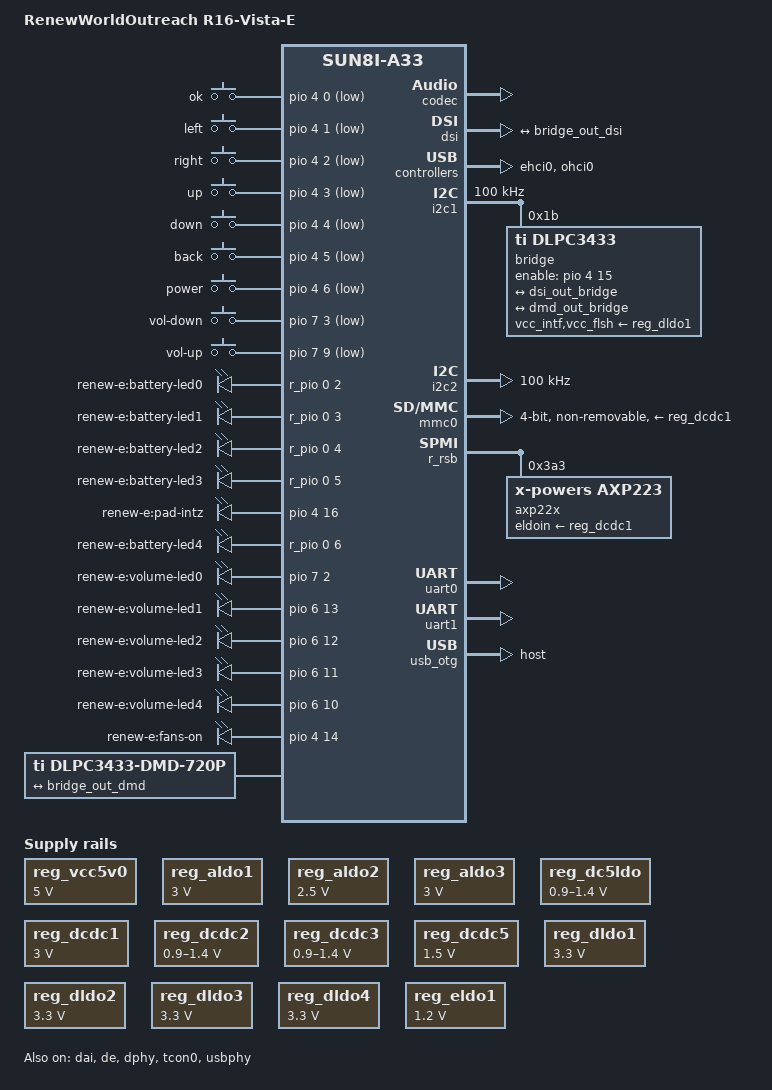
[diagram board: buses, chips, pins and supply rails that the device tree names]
// SPDX-License-Identifier: (GPL-2.0+ OR MIT)
/*
 * Copyright (C) 2022 RenewWorldOutreach
 * Copyright (C) 2022 Amarula Solutions(India)
 */

/dts-v1/;
#include "sun8i-a33.dtsi"

#include <dt-bindings/gpio/gpio.h>
#include <dt-bindings/input/input.h>
#include <dt-bindings/leds/common.h>

/ {
	model = "RenewWorldOutreach R16-Vista-E";
	compatible = "renewworldoutreach,r16-vista-e", "allwinner,sun8i-a33";

	aliases {
		i2c1 = &i2c1;
		i2c2 = &i2c2;
		serial0 = &uart0;
		serial1 = &uart1;
	};

	chosen {
		stdout-path = "serial0:115200n8";
	};

	gpio-keys-polled {
		compatible = "gpio-keys-polled";
		poll-interval = <100>;

		ok {
			label = "ok";
			linux,code = <KEY_OK>;
			gpios = <&pio 4 0 GPIO_ACTIVE_LOW>;
		};

		left {
			label = "left";
			linux,code = <KEY_LEFT>;
			gpios = <&pio 4 1 GPIO_ACTIVE_LOW>;
		};

		right {
			label = "right";
			linux,code = <KEY_RIGHT>;
			gpios = <&pio 4 2 GPIO_ACTIVE_LOW>;
		};

		up {
			label = "up";
			linux,code = <KEY_UP>;
			gpios = <&pio 4 3 GPIO_ACTIVE_LOW>;
		};

		down {
			label = "down";
			linux,code = <KEY_DOWN>;
			gpios = <&pio 4 4 GPIO_ACTIVE_LOW>;
		};

		back {
			label = "back";
			linux,code = <KEY_BACK>;
			gpios = <&pio 4 5 GPIO_ACTIVE_LOW>;
		};

		power {
			label = "power";
			linux,code = <KEY_POWER>;
			gpios = <&pio 4 6 GPIO_ACTIVE_LOW>;
		};

		vol-down {
			label = "vol-down";
			linux,code = <KEY_VOLUMEDOWN>;
			gpios = <&pio 7 3 GPIO_ACTIVE_LOW>;
		};

		vol-up {
			label = "vol-up";
			linux,code = <KEY_VOLUMEUP>;
			gpios = <&pio 7 9 GPIO_ACTIVE_LOW>;
		};
	};

	leds {
		compatible = "gpio-leds";

		battery-led0 {
			label = "renew-e:battery-led0";
			gpios = <&r_pio 0 2 GPIO_ACTIVE_HIGH>;
		};

		battery-led1 {
			label = "renew-e:battery-led1";
			gpios = <&r_pio 0 3 GPIO_ACTIVE_HIGH>;
		};

		battery-led2 {
			label = "renew-e:battery-led2";
			gpios = <&r_pio 0 4 GPIO_ACTIVE_HIGH>;
		};

		battery-led3 {
			label = "renew-e:battery-led3";
			gpios = <&r_pio 0 5 GPIO_ACTIVE_HIGH>;
		};

		pad-intz {
			label = "renew-e:pad-intz";
			gpios = <&pio 4 16 GPIO_ACTIVE_HIGH>;
			default-state = "on";
		};

		battery-led4 {
			label = "renew-e:battery-led4";
			gpios = <&r_pio 0 6 GPIO_ACTIVE_HIGH>;
		};

		volume-led0 {
                        label = "renew-e:volume-led0";
                        gpios = <&pio 7 2 GPIO_ACTIVE_HIGH>;
                };

		volume-led1 {
			label = "renew-e:volume-led1";
			gpios = <&pio 6 13 GPIO_ACTIVE_HIGH>;
		};

		volume-led2 {
			label = "renew-e:volume-led2";
			gpios = <&pio 6 12 GPIO_ACTIVE_HIGH>;
		};

		volume-led3 {
			label = "renew-e:volume-led3";
			gpios = <&pio 6 11 GPIO_ACTIVE_HIGH>;
		};

		volume-led4 {
			label = "renew-e:volume-led4";
			gpios = <&pio 6 10 GPIO_ACTIVE_HIGH>;
		};

		fans-on {
			label = "renew-e:fans-on";
			gpios = <&pio 4 14 GPIO_ACTIVE_HIGH>; /* FAN_ON/OFF: PE14 */
			default-state = "on";
		};
	};

	dmd {
		compatible = "ti,dlpc3433-dmd-720p";
		/* backlight not required */

		port {
			dmd_out_bridge: endpoint {
				remote-endpoint = <&bridge_out_dmd>;
			};
		};
	};

	reg_vcc5v0: vcc5v0 {
		compatible = "regulator-fixed";
		regulator-name = "vcc5v0";
		regulator-min-microvolt = <5000000>;
		regulator-max-microvolt = <5000000>;
	};
};

&codec {
	status = "okay";
};

&cpu0 {
	cpu-supply = <&reg_dcdc3>;
};

&cpu0_opp_table {
	opp-1104000000 {
		opp-hz = /bits/ 64 <1104000000>;
		opp-microvolt = <1320000>;
		clock-latency-ns = <244144>; /* 8 32k periods */
	};

	opp-1200000000 {
		opp-hz = /bits/ 64 <1200000000>;
		opp-microvolt = <1320000>;
		clock-latency-ns = <244144>; /* 8 32k periods */
	};
};

&dai {
	status = "okay";
};

&de {
	status = "okay";
};

&dphy {
	status = "okay";
};

&dsi {
	vcc-dsi-supply = <&reg_dcdc1>; /* VCC-DSI */
	switch-gpios = <&pio 7 6 GPIO_ACTIVE_LOW>; /* R16_DeMUX_SEL */
	enable-gpios = <&pio 6 9 GPIO_ACTIVE_HIGH>; /* SEL_LVDS_MUX */
	status = "okay";

	ports {
		#address-cells = <1>;
		#size-cells = <0>;

		port@0 {
			reg = <0>;

			dsi_out_bridge: endpoint {
				remote-endpoint = <&bridge_out_dsi>;
			};
		};
	};
};

&ehci0 {
	status = "okay";
};

&i2c1 {
	clock-frequency = <100000>;
	status = "okay";

	bridge@1b {
		compatible = "ti,dlpc3433";
		reg = <0x1b>;
		enable-gpios = <&pio 4 15 GPIO_ACTIVE_HIGH>; /* PROJ_ON: PE15 */
		vcc_intf-supply = <&reg_dldo1>; /* VCC_INTF: D+3V3_MAIN */
		vcc_flsh-supply = <&reg_dldo1>; /* VCC_FLSH: D+3V3_MAIN */

		ports {
			#address-cells = <1>;
			#size-cells = <0>;

			bridge_in: port@0 {
				reg = <0>;

				bridge_out_dsi: endpoint {
					remote-endpoint = <&dsi_out_bridge>;
					data-lanes = <1 2 3 4>;
				};
			};

			bridge_out: port@1 {
				reg = <1>;

				bridge_out_dmd: endpoint {
					remote-endpoint = <&dmd_out_bridge>;
				};
			};
		};
	};
};

&i2c2 {
	clock-frequency = <100000>;
	status = "okay";
};

&mmc0 {
	vmmc-supply = <&reg_dcdc1>;
	bus-width = <4>;
	non-removable;
	status = "okay";
};

&ohci0 {
	status = "okay";
};

&r_rsb {
	status = "okay";

	axp22x: pmic@3a3 {
		compatible = "x-powers,axp223";
		reg = <0x3a3>;
		interrupt-parent = <&r_intc>;
		interrupts = <GIC_SPI 32 IRQ_TYPE_LEVEL_LOW>;
		eldoin-supply = <&reg_dcdc1>;
		x-powers,drive-vbus-en;
	};
};

#include "axp223.dtsi"

&ac_power_supply {
	status = "okay";
};

&reg_aldo1 {
	regulator-always-on;
	regulator-min-microvolt = <3000000>;
	regulator-max-microvolt = <3000000>;
	regulator-name = "vcc-io";
};

&reg_aldo2 {
	regulator-always-on;
	regulator-min-microvolt = <2500000>;
	regulator-max-microvolt = <2500000>;
	regulator-name = "vdd-dll";
};

&reg_aldo3 {
	regulator-always-on;
	regulator-min-microvolt = <3000000>;
	regulator-max-microvolt = <3000000>;
	regulator-name = "avcc";
};

&reg_dc1sw {
	regulator-name = "vcc-lcd";
};

&reg_dc5ldo {
	regulator-always-on;
	regulator-min-microvolt = <900000>;
	regulator-max-microvolt = <1400000>;
	regulator-name = "vdd-cpus";
};

&reg_dcdc1 {
	regulator-always-on;
	regulator-min-microvolt = <3000000>;
	regulator-max-microvolt = <3000000>;
	regulator-name = "vcc-3v0";
};

&reg_dcdc2 {
	regulator-always-on;
	regulator-min-microvolt = <900000>;
	regulator-max-microvolt = <1400000>;
	regulator-name = "vdd-sys";
};

&reg_dcdc3 {
	regulator-always-on;
	regulator-min-microvolt = <900000>;
	regulator-max-microvolt = <1400000>;
	regulator-name = "vdd-cpu";
};

&reg_dcdc5 {
	regulator-always-on;
	regulator-min-microvolt = <1500000>;
	regulator-max-microvolt = <1500000>;
	regulator-name = "vcc-dram";
};

&reg_dldo1 {
	regulator-always-on;
	regulator-min-microvolt = <3300000>;
	regulator-max-microvolt = <3300000>;
	regulator-name = "vcc-3v3-main1";
};

&reg_dldo2 {
	regulator-always-on;
	regulator-min-microvolt = <3300000>;
	regulator-max-microvolt = <3300000>;
	regulator-name = "vcc-3v3-main2";
};

&reg_dldo3 {
	regulator-always-on;
	regulator-min-microvolt = <3300000>;
	regulator-max-microvolt = <3300000>;
	regulator-name = "vcc-3v3-main3";
};

&reg_dldo4 {
	regulator-always-on;
	regulator-min-microvolt = <3300000>;
	regulator-max-microvolt = <3300000>;
	regulator-name = "vcc-3v3-main4";
};

&reg_eldo1 {
	regulator-always-on;
	regulator-min-microvolt = <1200000>;
	regulator-max-microvolt = <1200000>;
	regulator-name = "vcc-1v2-hdmi";
};

&reg_drivevbus {
	regulator-name = "usb0-vbus";
	status = "okay";
};

&reg_rtc_ldo {
	regulator-name = "vcc-rtc";
};

&sound {
	status = "okay";
	simple-audio-card,routing =
		"Left DAC", "AIF1 Slot 0 Left",
		"Right DAC", "AIF1 Slot 0 Right";
};

&tcon0 {
	status = "okay";
};

&uart0 {
	pinctrl-names = "default";
	pinctrl-0 = <&uart0_pb_pins>;
	status = "okay";
};

&uart1 {
	pinctrl-names = "default";
	pinctrl-0 = <&uart1_pg_pins>, <&uart1_cts_rts_pg_pins>;
	status = "okay";
};

&usb_otg {
	dr_mode = "host";
	status = "okay";
};

&usb_power_supply {
	status = "okay";
};

&usbphy {
	usb0_vbus-supply = <&reg_vcc5v0>;
	status = "okay";
};
